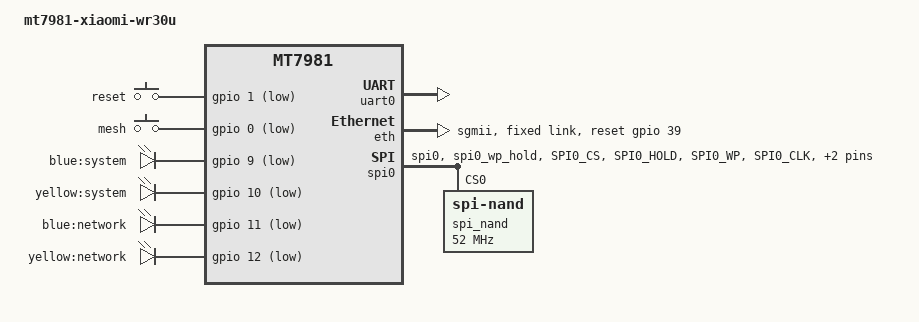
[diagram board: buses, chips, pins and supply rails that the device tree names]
// SPDX-License-Identifier: GPL-2.0

/dts-v1/;
#include "mt7981.dtsi"
#include <dt-bindings/gpio/gpio.h>

/ {
	#address-cells = <1>;
	#size-cells = <1>;
	model = "mt7981-xiaomi-wr30u";
	compatible = "mediatek,mt7981", "mediatek,mt7981-rfb";

	chosen {
		stdout-path = &uart0;
		tick-timer = &timer0;
	};

	config {
		bootcmd = "mtkboardboot";
		blink_led = "yellow:network";
		system_led = "blue:system";
	};

	mtd-layout {
		layout@0 {
			label = "default";
			mtdids = "nmbm0=nmbm0";
			mtdparts = "nmbm0:1024k(bl2),256k(Nvram),256k(Bdata),2048k(factory),2048k(fip),256k(crash),256k(crash_log),112m(ubi),256k(KF)";
		};

		layout@1 {
			label = "stock";
			mtdids = "nmbm0=nmbm0";
			mtdparts = "nmbm0:1024k(bl2),256k(Nvram),256k(Bdata),2048k(factory),2048k(fip),256k(crash),256k(crash_log),34816k(ubi),34816k(ubi1),32768k(overlay),12288k(data),256k(KF)";
		};
	};

	gpio-keys {
		compatible = "gpio-keys";

		reset-button {
			label = "reset";
			gpios = <&gpio 1 GPIO_ACTIVE_LOW>;
		};

		mesh-button {
			label = "mesh";
			gpios = <&gpio 0 GPIO_ACTIVE_LOW>;
		};
	};

	leds {
		compatible = "gpio-leds";

		led@0 {
			label = "blue:system";
			gpios = <&gpio 9 GPIO_ACTIVE_LOW>;
		};

		led@1 {
			label = "yellow:system";
			gpios = <&gpio 10 GPIO_ACTIVE_LOW>;
		};

		led@2 {
			label = "blue:network";
			gpios = <&gpio 11 GPIO_ACTIVE_LOW>;
		};

		led@3 {
			label = "yellow:network";
			gpios = <&gpio 12 GPIO_ACTIVE_LOW>;
		};
	};
};

&uart0 {
	status = "okay";
};

&eth {
	status = "okay";
	mediatek,gmac-id = <0>;
	phy-mode = "sgmii";
	mediatek,switch = "mt7531";
	reset-gpios = <&gpio 39 GPIO_ACTIVE_HIGH>;

	fixed-link {
		speed = <1000>;
		full-duplex;
	};
};

&pinctrl {
	spi_flash_pins: spi0-pins-func-1 {
		mux {
			function = "flash";
			groups = "spi0", "spi0_wp_hold";
		};

		conf-pu {
			pins = "SPI0_CS", "SPI0_HOLD", "SPI0_WP";
			drive-strength = <MTK_DRIVE_8mA>;
			bias-pull-up = <MTK_PUPD_SET_R1R0_11>;
		};

		conf-pd {
			pins = "SPI0_CLK", "SPI0_MOSI", "SPI0_MISO";
			drive-strength = <MTK_DRIVE_8mA>;
			bias-pull-down = <MTK_PUPD_SET_R1R0_11>;
		};
	};
};

&spi0 {
	#address-cells = <1>;
	#size-cells = <0>;
	pinctrl-names = "default";
	pinctrl-0 = <&spi_flash_pins>;
	status = "okay";
	must_tx;
	enhance_timing;
	dma_ext;
	ipm_design;
	support_quad;
	tick_dly = <2>;
	sample_sel = <0>;

	spi_nand@0 {
		compatible = "spi-nand";
		reg = <0>;
		spi-max-frequency = <52000000>;
	};
};

&watchdog {
	status = "disabled";
};
